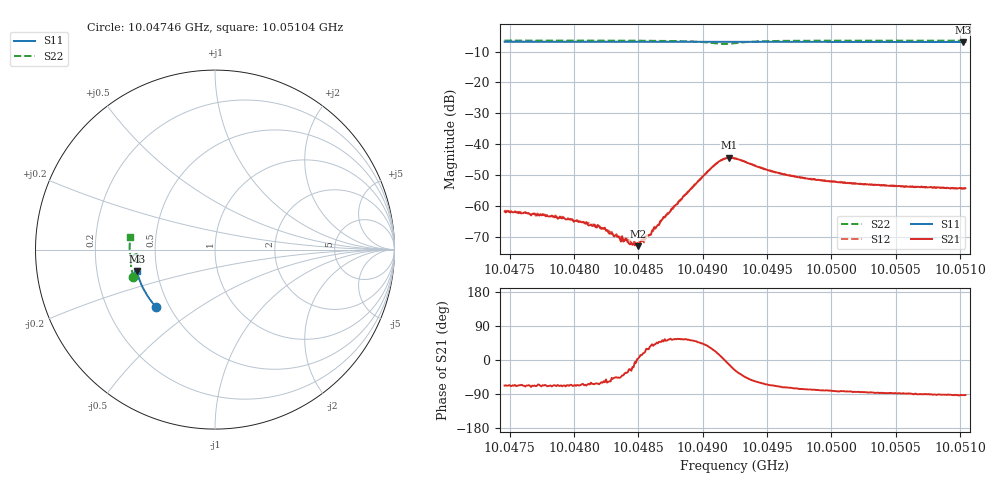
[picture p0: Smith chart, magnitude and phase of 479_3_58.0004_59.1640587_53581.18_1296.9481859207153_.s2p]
#  HZ  S  RI  R  50.00
! Rohde & Schwarz Vector Network Analyzer
! Rohde-Schwarz,ZNB20-2Port,1311601062101988,3.16
! Created: UTC 3/21/2024, 1:11:48 AM
! freq[Hz]  re:S11  im:S11  re:S21  im:S21  re:S12  im:S12  re:S22  im:S22
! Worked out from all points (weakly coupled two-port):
!   401 points, 10.04746 GHz to 10.05104 GHz, reference 50 ohm
!   highest |S21| = -44.37 dB at 10.04921 GHz (marker M1); lowest = -73.0 dB at 10.0485 GHz (marker M2)
!   lowest |S11| = -6.9 dB at 10.05102 GHz (marker M3), VSWR 2.65, Z = 19.2 - j5.73 ohm
!   |S11| at or under -10 dB: nowhere
!   |S22| runs from -7.5 to -6.4 dB; largest |S21 - S12| = 0.00042
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1.0047461e10  -0.3261 -0.3221  0.000315 -0.000754  0.000354 -0.000762  -0.4541 -0.1524
1.0047756e10  -0.339 -0.3075  0.000296 -0.000679  0.000316 -0.000643  -0.4595 -0.1328
1.0048061e10  -0.3517 -0.292  0.000237 -0.000488  0.000267 -0.000491  -0.4641 -0.1118
1.004824e10  -0.3588 -0.2827  0.000231 -0.000382  0.00024 -0.000358  -0.4664 -0.0988
1.0048293e10  -0.3609 -0.2797  0.000249 -0.000269  0.000257 -0.000279  -0.467 -0.0949
1.0048365e10  -0.3637 -0.276  0.00019 -0.000187  0.000218 -0.000169  -0.4677 -0.0895
1.0048392e10  -0.3648 -0.2745  0.000221 -0.000161  0.000267 -0.000159  -0.4679 -0.0874
1.0048437e10  -0.3665 -0.2722  0.000218 -9.99e-05  0.000258 -0.0001  -0.4681 -0.0841
1.0048499e10  -0.3687 -0.2687  0.000224 1.64e-05  0.000256 6.35e-05  -0.4684 -0.0789
1.0048544e10  -0.3705 -0.2662  0.000293 9.86e-05  0.000239 9.58e-05  -0.4686 -0.075
1.0048589e10  -0.3721 -0.2638  0.000282 0.000193  0.000273 0.000212  -0.4685 -0.0713
1.004866e10  -0.3747 -0.2599  0.000331 0.000367  0.000315 0.000392  -0.4684 -0.065
1.0048741e10  -0.3775 -0.2553  0.000454 0.000641  0.000433 0.000716  -0.4674 -0.0574
1.0049081e10  -0.3887 -0.2361  0.00392 0.002  0.00377 0.00224  -0.4344 -0.027
1.0049144e10  -0.3908 -0.2326  0.00544 0.000852  0.00542 0.00119  -0.4215 -0.0364
1.0049207e10  -0.3924 -0.2292  0.00589 -0.00136  0.00598 -0.000974  -0.4204 -0.0538
1.0049251e10  -0.394 -0.2268  0.00523 -0.00266  0.00545 -0.00234  -0.4284 -0.063
1.0049547e10  -0.4033 -0.2096  0.00138 -0.00335  0.00159 -0.00325  -0.4676 -0.0447
1.0049851e10  -0.4117 -0.1915  0.000541 -0.00266  0.000719 -0.00262  -0.4745 -0.0172
1.0050451e10  -0.4257 -0.1549  0.00011 -0.00211  0.000229 -0.00213  -0.4754 0.0276
1.0051024e10  -0.4362 -0.1189  -8.35e-05 -0.00193  1.86e-05 -0.00192  -0.4715 0.0668
1.0051042e10  -0.4366 -0.1178  -8.06e-05 -0.00194  1.14e-06 -0.00192  -0.4712 0.068
